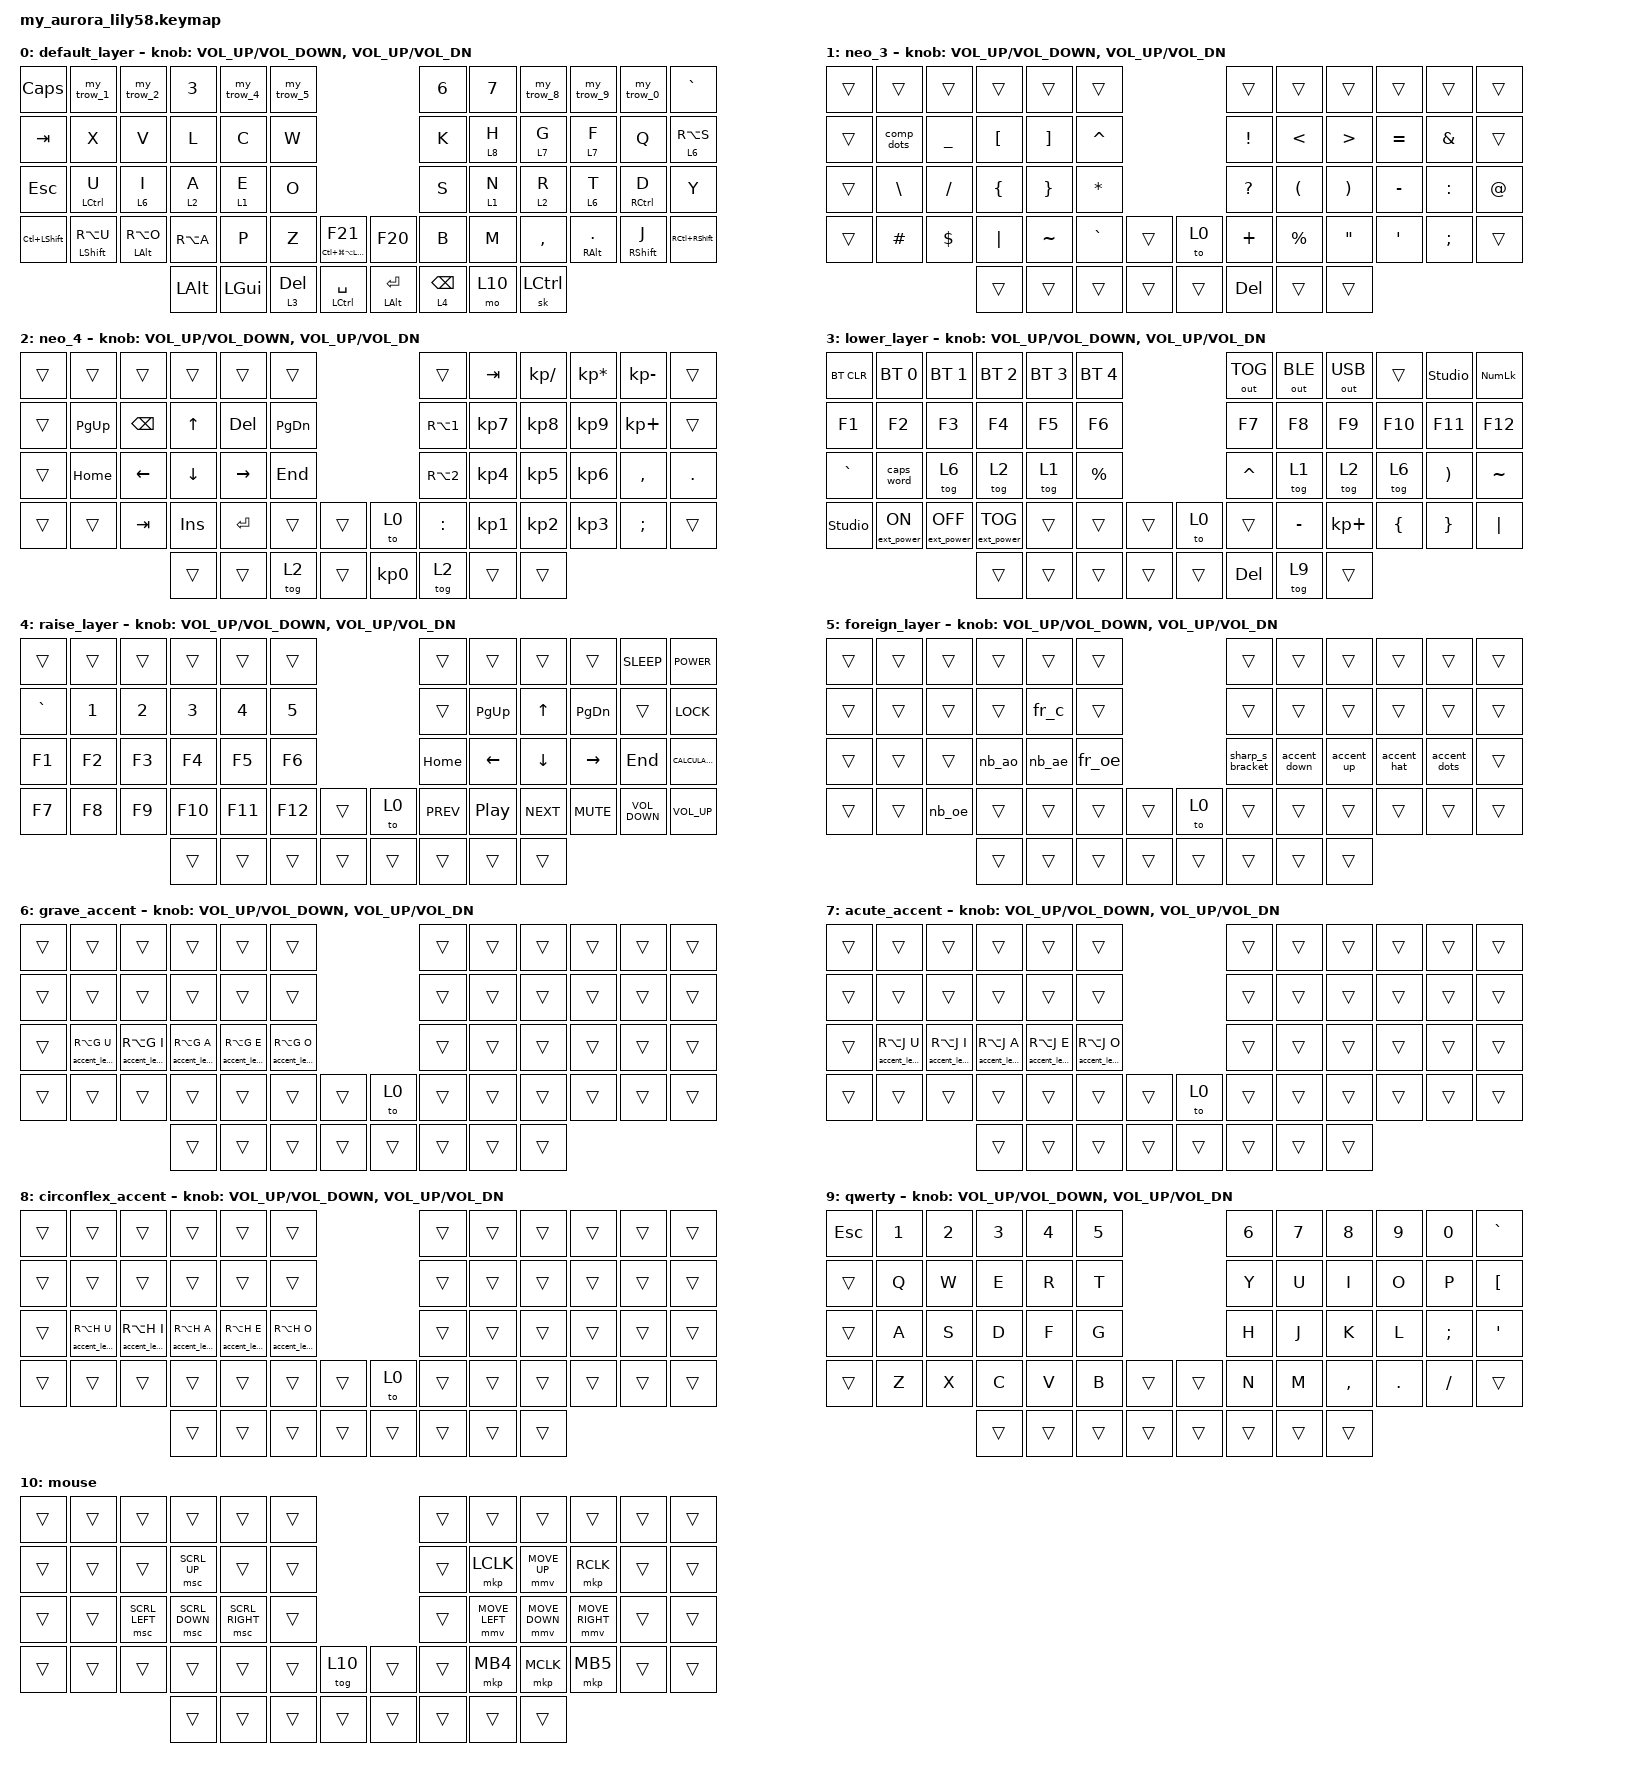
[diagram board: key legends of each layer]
/*
 * Copyright (c) 2020 The ZMK Contributors
 *
 * SPDX-License-Identifier: MIT
 */

#include <behaviors.dtsi>
#include <behaviors/unicode.dtsi>     
#include <dt-bindings/zmk/bt.h>
#include <dt-bindings/zmk/ext_power.h>
#include <dt-bindings/zmk/keys.h>
#include <dt-bindings/zmk/outputs.h>
#include <dt-bindings/zmk/pointing.h>

/ {
    combos {
        compatible = "zmk,combos";

        xv_escape {
            bindings = <&kp ESCAPE>;
            key-positions = <13 14>;
        };

        double_shift {
            bindings = <&kp CAPS>;
            key-positions = <36 49>;
        };

        toggle_layer_3 {
            bindings = <&tog 4>;
            key-positions = <55 56>;
        };

        accent_layer_ae {
            bindings = <&mo 0>;
            key-positions = <28 27>;
        };
    };

    macros {
        de_ss: de_ss {
            compatible = "zmk,behavior-macro";
            #binding-cells = <0>;
            bindings = <&kp RA(S)>;
            label = "DE_SS";
        };

        nb_ao: nb_ao {
            compatible = "zmk,behavior-macro";
            #binding-cells = <0>;
            bindings = <&kp RA(Q)>;
            label = "NB_AO";
        };

        nb_ae: nb_ae {
            compatible = "zmk,behavior-macro";
            #binding-cells = <0>;
            bindings = <&kp RA(LEFT_BRACKET)>;
            label = "NB_AE";
        };

        nb_oe: nb_oe {
            compatible = "zmk,behavior-macro";
            #binding-cells = <0>;
            bindings = <&kp RA(D)>;
            label = "NB_OE";
        };

        fr_c: fr_c {
            compatible = "zmk,behavior-macro";
            #binding-cells = <0>;
            bindings = <&kp RA(C)>;
            label = "FR_C";
        };

        accent_down: accent_down {
            compatible = "zmk,behavior-macro";
            #binding-cells = <0>;
            bindings = <&kp RA(G)>;
            label = "ACCENT_DOWN";
        };

        accent_hat: accent_hat {
            compatible = "zmk,behavior-macro";
            #binding-cells = <0>;
            bindings = <&kp RA(H)>;
            label = "ACCENT_HAT";
        };

        accent_up: accent_up {
            compatible = "zmk,behavior-macro";
            #binding-cells = <0>;
            bindings = <&kp RA(J)>;
            label = "ACCENT_UP";
        };

        fr_oe: fr_oe {
            compatible = "zmk,behavior-macro";
            #binding-cells = <0>;
            bindings = <&kp RA(P)>;
            label = "FR_OE";
        };

        accent_dots: accent_dots {
            compatible = "zmk,behavior-macro";
            #binding-cells = <0>;
            bindings = <&kp RA(G)>;
            label = "ACCENT_DOTS";
        };

        comp_dots: comp_dots {
            compatible = "zmk,behavior-macro";
            #binding-cells = <0>;
            bindings = <&kp RA(X)>;
            label = "COMP_DOTS";
        };

        custom_shift: custom_shift {
            compatible = "zmk,behavior-macro";
            #binding-cells = <0>;
            bindings =
                <&macro_press>,
                <&kp LEFT_SHIFT &tog 0>,
                <&macro_pause_for_release>,
                <&macro_release>,
                <&kp LSHIFT &tog 0>;

            label = "CUSTOM_SHIFT";
        };

        comp_degree: comp_degree {
            compatible = "zmk,behavior-macro";
            #binding-cells = <0>;
            bindings = <&kp RA(NUMBER_1)>;
            label = "COMP_DEGREE";
        };

        comp_left_quote: comp_left_quote {
            compatible = "zmk,behavior-macro";
            #binding-cells = <0>;
            bindings = <&kp RA(N5)>;
            label = "COMP_LEFT_QUOTE";
        };

        comp_right_macro: comp_right_macro {
            compatible = "zmk,behavior-macro";
            #binding-cells = <0>;
            bindings = <&kp RA(NUMBER_4)>;
            label = "COMP_RIGHT_MACRO";
        };

        accent_letter: accent_letter {
            compatible = "zmk,behavior-macro-two-param";
            #binding-cells = <2>;
            bindings = <&macro_param_1to1 &kp MACRO_PLACEHOLDER &macro_param_2to1 &kp MACRO_PLACEHOLDER>;
            label = "ACCENT_LETTER";
        };
    };

    behaviors {
        hold_mo_tap_kp: hold_mo_tap_kp {
            compatible = "zmk,behavior-hold-tap";
            label = "HOLD_MO_TAP_KP";
            bindings = <&mo>, <&kp>;

            #binding-cells = <2>;
            tapping-term-ms = <200>;
            flavor = "balanced";
            retro-tap;
            quick-tap-ms = <200>;
        };

        hold_mt_tap_kp: hold_mt_tap_kp {
            compatible = "zmk,behavior-hold-tap";
            label = "HOLD_MT_TAP_KP";
            bindings = <&mt>, <&kp>;

            #binding-cells = <2>;
            tapping-term-ms = <200>;
            flavor = "tap-preferred";
        };

        hold_tap_kp: hold_tap_kp {
            compatible = "zmk,behavior-hold-tap";
            label = "HOLD_TAP_KP";
            bindings = <&kp>, <&kp>;

            #binding-cells = <2>;
            tapping-term-ms = <200>;
            quick-tap-ms = <150>;
            flavor = "balanced";
            require-prior-idle-ms = <100>;
            hold-trigger-key-positions = <12 16 14 30 54 53>;
        };

        hml: hml {
            compatible = "zmk,behavior-hold-tap";
            label = "HML";
            bindings = <&mo>, <&kp>;

            #binding-cells = <2>;
            tapping-term-ms = <200>;
            flavor = "balanced";
            retro-tap;
            hold-trigger-key-positions = <54 43 55 44 56 45 30 6 7 8 18 19 20 30 31 32 43 44 45 46 54 55 56 57 9 10 11 21 22 23 33 34 35 47 48 49 57>;
            require-prior-idle-ms = <100>;
        };

        hmr: hmr {
            compatible = "zmk,behavior-hold-tap";
            label = "HMR";
            bindings = <&mo>, <&kp>;

            #binding-cells = <2>;
            tapping-term-ms = <200>;
            flavor = "balanced";
            retro-tap;
            hold-trigger-key-positions = <0 1 2 3 4 5 12 13 14 15 16 17 24 25 26 27 28 29 36 37 38 39 40 41 42 50 51 52 53>;
            require-prior-idle-ms = <100>;
        };

        sharp_s_bracket: sharp_s_bracket {
            compatible = "zmk,behavior-mod-morph";
            label = "SHARP_S_BRACKET";
            bindings = <&de_ss>, <&kp LEFT_BRACKET>;

            #binding-cells = <0>;
            mods = <(MOD_LCTL|MOD_LALT|MOD_LGUI|MOD_RCTL|MOD_RALT|MOD_RGUI)>;
            keep-mods = <(MOD_LCTL|MOD_LALT|MOD_LGUI|MOD_RCTL|MOD_RALT|MOD_RGUI)>;
        };

        my_trow_1: my_trow_1 {
            compatible = "zmk,behavior-mod-morph";
            label = "MY_TROW_1";
            bindings = <&kp NUMBER_1>, <&kp RA(Y)>;

            #binding-cells = <0>;
            mods = <(MOD_RSFT)>;
        };

        my_trow_2: my_trow_2 {
            compatible = "zmk,behavior-mod-morph";
            label = "MY_TROW_2";
            bindings = <&kp NUMBER_2>, <&kp RA(SEMI)>;

            #binding-cells = <0>;
            mods = <(MOD_RSFT)>;
        };

        my_trow_4: my_trow_4 {
            compatible = "zmk,behavior-mod-morph";
            label = "MY_TROW_4";
            bindings = <&kp NUMBER_4>, <&kp RA(NUMBER_4)>;

            #binding-cells = <0>;
            mods = <(MOD_RSFT)>;
        };

        my_trow_5: my_trow_5 {
            compatible = "zmk,behavior-mod-morph";
            label = "MY_TROW_5";
            bindings = <&kp N5>, <&kp RA(N5)>;

            #binding-cells = <0>;
            mods = <(MOD_RSFT)>;
        };

        my_trow_8: my_trow_8 {
            compatible = "zmk,behavior-mod-morph";
            label = "MY_TROW_8";
            bindings = <&kp N8>, <&kp RA(N8)>;

            #binding-cells = <0>;
            mods = <(MOD_LSFT)>;
        };

        my_trow_9: my_trow_9 {
            compatible = "zmk,behavior-mod-morph";
            label = "MY_TROW_9";
            bindings = <&kp N9>, <&kp RA(N9)>;

            #binding-cells = <0>;
            mods = <(MOD_LSFT)>;
        };

        my_trow_0: my_trow_0 {
            compatible = "zmk,behavior-mod-morph";
            label = "MY_TROW_0";
            bindings = <&kp N0>, <&kp RA(N0)>;

            #binding-cells = <0>;
            mods = <(MOD_LSFT)>;
        };

        hmodl: hmodl {
            compatible = "zmk,behavior-hold-tap";
            label = "HMODL";
            bindings = <&kp>, <&kp>;

            #binding-cells = <2>;
            tapping-term-ms = <200>;
            flavor = "balanced";
            hold-trigger-key-positions = <54 43 55 44 56 45 30 6 7 8 18 19 20 30 31 32 43 44 45 46 54 55 56 57 9 10 11 21 22 23 33 34 35 47 48 49 57>;
            quick-tap-ms = <150>;
        };

        hmodr: hmodr {
            compatible = "zmk,behavior-hold-tap";
            label = "HMODR";
            bindings = <&kp>, <&kp>;

            #binding-cells = <2>;
            tapping-term-ms = <200>;
            flavor = "balanced";
            hold-trigger-key-positions = <0 1 2 3 4 5 12 13 14 15 16 17 24 25 26 27 28 29 36 37 38 39 40 41 42 50 51 52 53>;
            quick-tap-ms = <150>;
        };

        accent_mod: accent_mod {
            compatible = "zmk,behavior-hold-tap";
            label = "ACCENT_MOD";
            bindings = <&mo>, <&kp>;

            #binding-cells = <2>;
            tapping-term-ms = <200>;
            flavor = "balanced";
            retro-tap;
            hold-trigger-key-positions = <0 1 2 3 4 5 12 13 14 15 16 17 24 25 26 27 28 29 36 37 38 39 40 41 42 50 51 52 53>;
            require-prior-idle-ms = <50>;
            quick-tap-ms = <150>;
        };

        hold_tap_kp_linger: hold_tap_kp_linger {
            compatible = "zmk,behavior-hold-tap";
            label = "HOLD_TAP_KP_LINGER";
            bindings = <&kp>, <&kp>;

            #binding-cells = <2>;
            tapping-term-ms = <200>;
            quick-tap-ms = <150>;
            flavor = "balanced";
            require-prior-idle-ms = <100>;
            hold-while-undecided;
        };
    };

    keymap {
        compatible = "zmk,keymap";

        default_layer {
            // ------------------------------------------------------------------------------------------------------------
            // |  ESC  |  1  |  2  |  3   |  4   |  5   |                   |  6   |  7    |  8    |  9   |   0   |   `   |
            // |  TAB  |  Q  |  W  |  E   |  R   |  T   |                   |  Y   |  U    |  I    |  O   |   P   |   -   |
            // |  CTRL |  A  |  S  |  D   |  F   |  G   |                   |  H   |  J    |  K    |  L   |   ;   |   '   |
            // | SHIFT |  Z  |  X  |  C   |  V   |  B   |   "["  |  |  "]"  |  N   |  M    |  ,    |  .   |   /   | SHIFT |
            //                     | ALT  | GUI  | LOWER|  SPACE |  | ENTER | RAISE| BSPC  | GUI   |

            bindings = <
&kp CAPSLOCK        &my_trow_1           &my_trow_2             &kp N3     &my_trow_4  &my_trow_5                                                                              &kp N6                       &kp N7           &my_trow_8       &my_trow_9            &my_trow_0       &kp GRAVE
&kp TAB             &kp X                &kp V                  &kp L      &kp C       &kp W                                                                                   &kp K                        &accent_mod 8 H  &accent_mod 7 G  &accent_mod 7 F       &kp Q            &hold_mo_tap_kp 6 RA(S)
&kp ESCAPE          &hmodl LCTRL U       &hml 6 I               &hml 2 A   &hml 1 E    &kp O                                                                                   &kp S                        &hmr 1 N         &hmr 2 R         &hmr 6 T              &hmodr RCTRL D   &kp Y
&kp LC(LEFT_SHIFT)  &hmodl LSHIFT RA(U)  &hmodl LEFT_ALT RA(O)  &kp RA(A)  &kp P       &kp Z                     &mt LC(LG(LA(LSHIFT))) F21         &kp F20                    &kp B                        &kp M            &kp COMMA        &hmodr RIGHT_ALT DOT  &hmodr RSHIFT J  &kp RC(RIGHT_SHIFT)
                                                                &kp LALT   &kp LGUI    &hold_mo_tap_kp 3 DELETE  &hold_tap_kp_linger LCTRL SPACE    &hold_tap_kp LEFT_ALT RET  &hold_mo_tap_kp 4 BACKSPACE  &mo 10           &sk LCTRL
            >;

            sensor-bindings = <&inc_dec_kp C_VOLUME_UP C_VOLUME_DOWN &inc_dec_kp C_VOLUME_UP C_VOL_DN>;
        };

        neo_3 {
            bindings = <
&trans  &trans         &trans      &trans          &trans           &trans                          &trans           &trans                &trans                 &trans            &trans         &trans
&trans  &comp_dots     &kp UNDER   &kp LBKT        &kp RBKT         &kp CARET                       &kp EXCLAMATION  &kp LESS_THAN         &kp GREATER_THAN       &kp EQUAL         &kp AMPS       &trans
&trans  &kp BACKSLASH  &kp SLASH   &kp LEFT_BRACE  &kp RIGHT_BRACE  &kp ASTERISK                    &kp QUESTION     &kp LEFT_PARENTHESIS  &kp RIGHT_PARENTHESIS  &kp MINUS         &kp COLON      &kp AT
&trans  &kp HASH       &kp DOLLAR  &kp PIPE        &kp TILDE        &kp GRAVE     &trans    &to 0   &kp PLUS         &kp PERCENT           &kp DOUBLE_QUOTES      &kp SINGLE_QUOTE  &kp SEMICOLON  &trans
                                   &trans          &trans           &trans        &trans    &trans  &kp DELETE       &trans                &trans
            >;

            sensor-bindings = <&inc_dec_kp C_VOLUME_UP C_VOLUME_DOWN &inc_dec_kp C_VOLUME_UP C_VOL_DN>;
        };

        neo_4 {
            bindings = <
&trans  &trans     &trans    &trans      &trans     &trans                                &trans            &kp TAB          &kp KP_DIVIDE    &kp KP_MULTIPLY  &kp KP_SUBTRACT  &trans
&trans  &kp PG_UP  &kp BSPC  &kp UP      &kp DEL    &kp PG_DN                             &kp RA(N1)        &kp KP_NUMBER_7  &kp KP_NUMBER_8  &kp KP_NUMBER_9  &kp KP_PLUS      &trans
&trans  &kp HOME   &kp LEFT  &kp DOWN    &kp RIGHT  &kp END                               &kp RA(NUMBER_2)  &kp KP_NUMBER_4  &kp KP_NUMBER_5  &kp KP_NUMBER_6  &kp COMMA        &kp DOT
&trans  &trans     &kp TAB   &kp INSERT  &kp RET    &trans     &trans    &to 0            &kp COLON         &kp KP_N1        &kp KP_NUMBER_2  &kp KP_NUMBER_3  &kp SEMI         &trans
                             &trans      &trans     &tog 2     &trans    &kp KP_NUMBER_0  &tog 2            &trans           &trans
            >;

            sensor-bindings = <&inc_dec_kp C_VOLUME_UP C_VOLUME_DOWN &inc_dec_kp C_VOLUME_UP C_VOL_DN>;
        };

        lower_layer {
            // ------------------------------------------------------------------------------------------------------------
            // | BTCLR | BT1 | BT2 |  BT3 |  BT4 |  BT5 |                   |      |       |       |      |       |       |
            // |  F1   |  F2 |  F3 |  F4  |  F5  |  F6  |                   |  F7  |  F8   |  F9   |  F10 |  F11  |  F12  |
            // |   `   |  !  |  @  |  #   |  $   |  %   |                   |  ^   |  &    |  *    |  (   |   )   |   ~   |
            // |       |     |     |      |      |      |        |  |       |      |  _    |  +    |  {   |   }   |  "|"  |
            //                     |      |      |      |        |  |       |      |       |       |

            bindings = <
&bt BT_CLR      &bt BT_SEL 0      &bt BT_SEL 1       &bt BT_SEL 2       &bt BT_SEL 3  &bt BT_SEL 4                    &out OUT_TOG  &out OUT_BLE  &out OUT_USB  &trans    &studio_unlock  &kp KP_NUMLOCK
&kp F1          &kp F2            &kp F3             &kp F4             &kp F5        &kp F6                          &kp F7        &kp F8        &kp F9        &kp F10   &kp F11         &kp F12
&kp GRAVE       &caps_word        &tog 6             &tog 2             &tog 1        &kp PRCNT                       &kp CARET     &tog 1        &tog 2        &tog 6    &kp RPAR        &kp TILDE
&studio_unlock  &ext_power EP_ON  &ext_power EP_OFF  &ext_power EP_TOG  &trans        &trans        &trans    &to 0   &trans        &kp MINUS     &kp KP_PLUS   &kp LBRC  &kp RBRC        &kp PIPE
                                                     &trans             &trans        &trans        &trans    &trans  &kp DELETE    &tog 9        &trans
            >;

            sensor-bindings = <&inc_dec_kp C_VOLUME_UP C_VOLUME_DOWN &inc_dec_kp C_VOLUME_UP C_VOL_DN>;
        };

        raise_layer {
            // ------------------------------------------------------------------------------------------------------------
            // |       |     |     |      |      |      |                   |      |       |       |      |       |       |
            // |   `   |  1  |  2  |  3   |  4   |  5   |                   |  6   |   7   |   8   |  9   |   0   |       |
            // |   F1  |  F2 |  F3 |  F4  |  F5  |  F6  |                   |      |   <-  |   v   |  ^   |  ->   |       |
            // |   F7  |  F8 |  F9 |  F10 |  F11 |  F12 |        |  |       |  +   |   -   |   =   |  [   |   ]   |   \   |
            //                     |      |      |      |        |  |       |      |       |       |

            bindings = <
&trans     &trans  &trans  &trans   &trans   &trans                     &trans      &trans            &trans        &trans           &kp C_SLEEP        &kp C_POWER
&kp GRAVE  &kp N1  &kp N2  &kp N3   &kp N4   &kp N5                     &trans      &kp PAGE_UP       &kp UP_ARROW  &kp PAGE_DOWN    &trans             &kp K_LOCK
&kp F1     &kp F2  &kp F3  &kp F4   &kp F5   &kp F6                     &kp HOME    &kp LEFT          &kp DOWN      &kp RIGHT_ARROW  &kp END            &kp K_CALCULATOR
&kp F7     &kp F8  &kp F9  &kp F10  &kp F11  &kp F12  &trans    &to 0   &kp C_PREV  &kp C_PLAY_PAUSE  &kp C_NEXT    &kp C_MUTE       &kp C_VOLUME_DOWN  &kp C_VOLUME_UP
                           &trans   &trans   &trans   &trans    &trans  &trans      &trans            &trans
            >;

            sensor-bindings = <&inc_dec_kp C_VOLUME_UP C_VOLUME_DOWN &inc_dec_kp C_VOLUME_UP C_VOL_DN>;
        };

        foreign_layer {
            bindings = <
&trans  &trans  &trans  &trans  &trans  &trans                    &trans            &trans        &trans      &trans       &trans        &trans
&trans  &trans  &trans  &trans  &fr_c   &trans                    &trans            &trans        &trans      &trans       &trans        &trans
&trans  &trans  &trans  &nb_ao  &nb_ae  &fr_oe                    &sharp_s_bracket  &accent_down  &accent_up  &accent_hat  &accent_dots  &trans
&trans  &trans  &nb_oe  &trans  &trans  &trans  &trans    &to 0   &trans            &trans        &trans      &trans       &trans        &trans
                        &trans  &trans  &trans  &trans    &trans  &trans            &trans        &trans
            >;

            sensor-bindings = <&inc_dec_kp C_VOLUME_UP C_VOLUME_DOWN &inc_dec_kp C_VOLUME_UP C_VOL_DN>;
        };

        grave_accent {
            bindings = <
&trans  &trans                  &trans                  &trans                  &trans                  &trans                                    &trans  &trans  &trans  &trans  &trans  &trans
&trans  &trans                  &trans                  &trans                  &trans                  &trans                                    &trans  &trans  &trans  &trans  &trans  &trans
&trans  &accent_letter RA(G) U  &accent_letter RA(G) I  &accent_letter RA(G) A  &accent_letter RA(G) E  &accent_letter RA(G) O                    &trans  &trans  &trans  &trans  &trans  &trans
&trans  &trans                  &trans                  &trans                  &trans                  &trans                  &trans    &to 0   &trans  &trans  &trans  &trans  &trans  &trans
                                                        &trans                  &trans                  &trans                  &trans    &trans  &trans  &trans  &trans
            >;

            sensor-bindings = <&inc_dec_kp C_VOLUME_UP C_VOLUME_DOWN &inc_dec_kp C_VOLUME_UP C_VOL_DN>;
        };

        acute_accent {
            bindings = <
&trans  &trans                  &trans                  &trans                  &trans                  &trans                                    &trans  &trans  &trans  &trans  &trans  &trans
&trans  &trans                  &trans                  &trans                  &trans                  &trans                                    &trans  &trans  &trans  &trans  &trans  &trans
&trans  &accent_letter RA(J) U  &accent_letter RA(J) I  &accent_letter RA(J) A  &accent_letter RA(J) E  &accent_letter RA(J) O                    &trans  &trans  &trans  &trans  &trans  &trans
&trans  &trans                  &trans                  &trans                  &trans                  &trans                  &trans    &to 0   &trans  &trans  &trans  &trans  &trans  &trans
                                                        &trans                  &trans                  &trans                  &trans    &trans  &trans  &trans  &trans
            >;

            sensor-bindings = <&inc_dec_kp C_VOLUME_UP C_VOLUME_DOWN &inc_dec_kp C_VOLUME_UP C_VOL_DN>;
        };

        circonflex_accent {
            bindings = <
&trans  &trans                  &trans                  &trans                  &trans                  &trans                                    &trans  &trans  &trans  &trans  &trans  &trans
&trans  &trans                  &trans                  &trans                  &trans                  &trans                                    &trans  &trans  &trans  &trans  &trans  &trans
&trans  &accent_letter RA(H) U  &accent_letter RA(H) I  &accent_letter RA(H) A  &accent_letter RA(H) E  &accent_letter RA(H) O                    &trans  &trans  &trans  &trans  &trans  &trans
&trans  &trans                  &trans                  &trans                  &trans                  &trans                  &trans    &to 0   &trans  &trans  &trans  &trans  &trans  &trans
                                                        &trans                  &trans                  &trans                  &trans    &trans  &trans  &trans  &trans
            >;

            sensor-bindings = <&inc_dec_kp C_VOLUME_UP C_VOLUME_DOWN &inc_dec_kp C_VOLUME_UP C_VOL_DN>;
        };

        qwerty {
            bindings = <
&kp ESC  &kp N1  &kp N2  &kp N3  &kp N4  &kp N5                    &kp N6  &kp N7  &kp N8     &kp N9   &kp N0    &kp GRAVE
&trans   &kp Q   &kp W   &kp E   &kp R   &kp T                     &kp Y   &kp U   &kp I      &kp O    &kp P     &kp LBKT
&trans   &kp A   &kp S   &kp D   &kp F   &kp G                     &kp H   &kp J   &kp K      &kp L    &kp SEMI  &kp APOS
&trans   &kp Z   &kp X   &kp C   &kp V   &kp B   &trans    &trans  &kp N   &kp M   &kp COMMA  &kp DOT  &kp FSLH  &trans
                         &trans  &trans  &trans  &trans    &trans  &trans  &trans  &trans
            >;

            sensor-bindings = <&inc_dec_kp C_VOLUME_UP C_VOLUME_DOWN &inc_dec_kp C_VOLUME_UP C_VOL_DN>;
        };

        mouse {
            bindings = <
&trans  &trans  &trans          &trans          &trans           &trans                     &trans  &trans          &trans          &trans           &trans  &trans
&trans  &trans  &trans          &msc SCRL_UP    &trans           &trans                     &trans  &mkp LCLK       &mmv MOVE_UP    &mkp RCLK        &trans  &trans
&trans  &trans  &msc SCRL_LEFT  &msc SCRL_DOWN  &msc SCRL_RIGHT  &trans                     &trans  &mmv MOVE_LEFT  &mmv MOVE_DOWN  &mmv MOVE_RIGHT  &trans  &trans
&trans  &trans  &trans          &trans          &trans           &trans  &tog 10    &trans  &trans  &mkp MB4        &mkp MCLK       &mkp MB5         &trans  &trans
                                &trans          &trans           &trans  &trans     &trans  &trans  &trans          &trans
            >;
        };
    };
};
